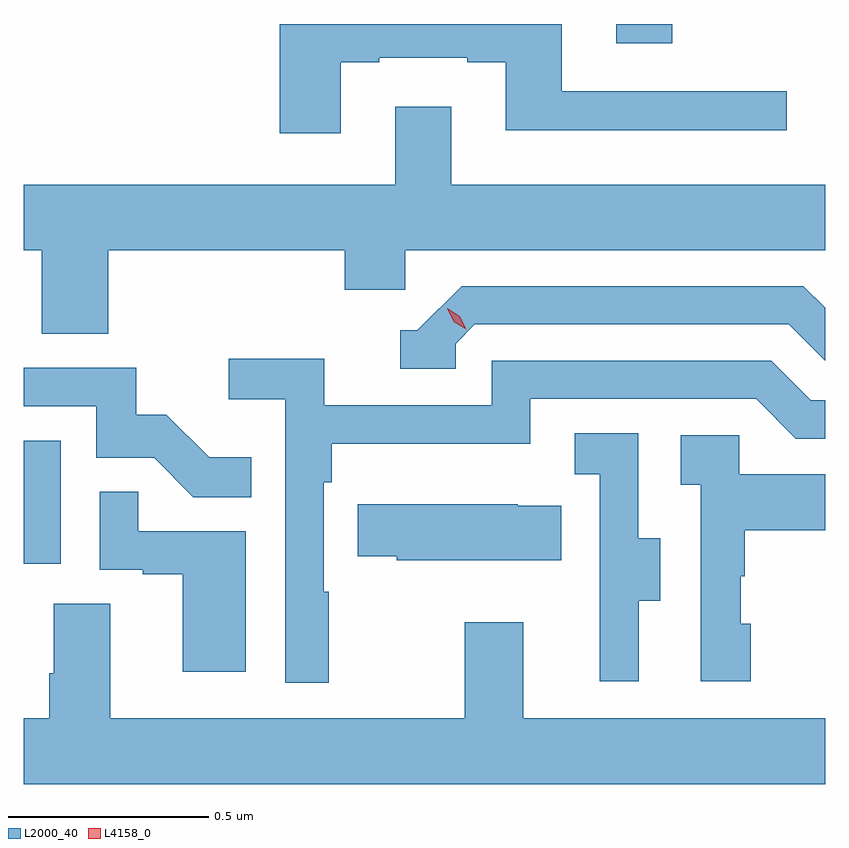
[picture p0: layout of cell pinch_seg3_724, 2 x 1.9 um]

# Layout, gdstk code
import gdstk
lib = gdstk.Library(unit=1e-6, precision=1e-09)
def R(c, l, rs):  # rectangles x0, y0, x1, y1
    for r in rs: c.add(gdstk.rectangle(r[:2], r[2:], *l))
def P(c, l, *ps):  # polygons
    for p in ps: c.add(gdstk.Polygon(p, *l))
L2000_40 = (2000, 40)
L4158_0 = (4158, 0)

pinch_seg3_724 = lib.new_cell('pinch_seg3_724')
R(pinch_seg3_724, L2000_40, [(1120.658,681.486,1120.75,681.793), (1122.137,682.785,1122.277,682.833)])
P(pinch_seg3_724, L2000_40, [(1121.449,682.737),(1121.545,682.737),(1121.545,682.749),(1121.765,682.749),(1121.765,682.737),(1121.861,682.737),(1121.861,682.568),(1122.562,682.568),(1122.562,682.665),(1122.001,682.665),(1122.001,682.833),(1121.297,682.833),(1121.297,682.56),(1121.449,682.56)],
  [(1120.868,682.268),(1121.459,682.268),(1121.459,682.17),(1121.61,682.17),(1121.61,682.268),(1122.658,682.268),(1122.658,682.432),(1121.725,682.432),(1121.725,682.627),(1121.585,682.627),(1121.585,682.432),(1120.658,682.432),(1120.658,682.268),(1120.703,682.268),(1120.703,682.06),(1120.868,682.06)],
  [(1121.736,682.035),(1121.784,682.083),(1122.567,682.083),(1122.658,681.992),(1122.658,682.125),(1122.604,682.179),(1121.751,682.179),(1121.64,682.068),(1121.597,682.068),(1121.597,681.972),(1121.736,681.972)],
  [(1121.419,681.416),(1121.406,681.416),(1121.406,681.689),(1121.426,681.689),(1121.426,681.785),(1121.922,681.785),(1121.922,681.897),(1122.486,681.897),(1122.585,681.798),(1122.658,681.798),(1122.658,681.894),(1122.622,681.894),(1122.523,681.993),(1121.826,681.993),(1121.826,681.882),(1121.408,681.882),(1121.408,681.998),(1121.169,681.998),(1121.169,681.896),(1121.31,681.896),(1121.31,681.189),(1121.419,681.189)],
  [(1121.225,681.751),(1121.121,681.751),(1121.014,681.858),(1120.938,681.858),(1120.938,681.975),(1120.658,681.975),(1120.658,681.879),(1120.839,681.879),(1120.839,681.75),(1120.983,681.75),(1121.081,681.652),(1121.225,681.652)],
  [(1122.193,681.394),(1122.247,681.394),(1122.247,681.549),(1122.192,681.549),(1122.192,681.812),(1122.033,681.812),(1122.033,681.709),(1122.096,681.709),(1122.096,681.405),(1122.095,681.405),(1122.095,681.192),(1122.193,681.192)],
  [(1122.472,681.336),(1122.447,681.336),(1122.447,681.455),(1122.457,681.455),(1122.457,681.569),(1122.658,681.569),(1122.658,681.709),(1122.444,681.709),(1122.444,681.807),(1122.297,681.807),(1122.297,681.683),(1122.348,681.683),(1122.348,681.192),(1122.472,681.192)],
  [(1121.212,681.567),(1120.943,681.567),(1120.943,681.665),(1120.848,681.665),(1120.848,681.471),(1120.955,681.471),(1120.955,681.459),(1121.054,681.459),(1121.054,681.216),(1121.212,681.216)],
  [(1121.999,681.631),(1121.891,681.631),(1121.891,681.634),(1121.491,681.634),(1121.491,681.505),(1121.589,681.505),(1121.589,681.494),(1121.999,681.494)],
  [(1122.658,681.1),(1121.905,681.1),(1121.905,681.34),(1121.758,681.34),(1121.758,681.1),(1120.873,681.1),(1120.873,681.386),(1120.733,681.386),(1120.733,681.212),(1120.721,681.212),(1120.721,681.1),(1120.658,681.1),(1120.658,680.936),(1122.658,680.936)])
P(pinch_seg3_724, L4158_0, [(1121.762,682.071),(1121.731,682.09),(1121.715,682.123),(1121.715,682.123),(1121.715,682.123),(1121.746,682.104),(1121.762,682.071),(1121.762,682.071)])

lib.write_gds('pinch_seg3_724.gds')
